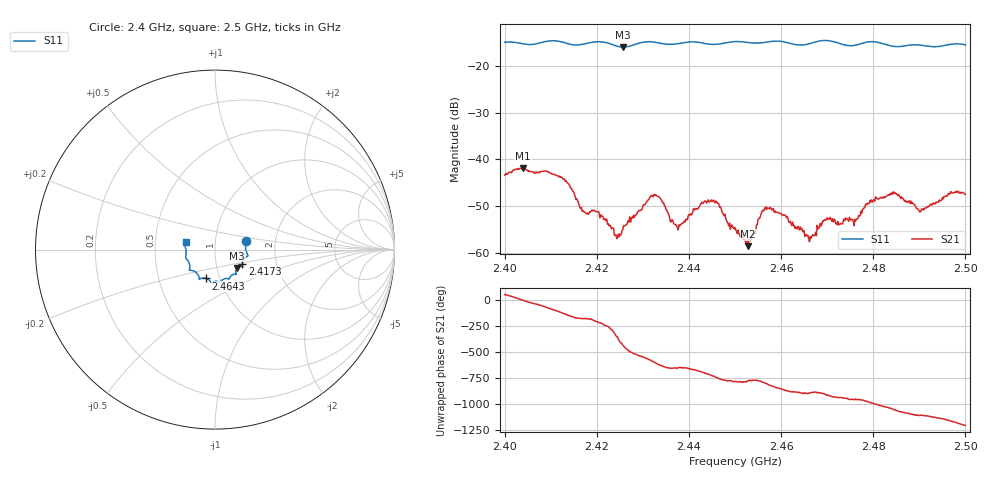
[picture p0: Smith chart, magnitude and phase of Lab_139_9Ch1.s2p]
# Hz S RI R 50
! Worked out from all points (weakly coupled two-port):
!   601 points, 2.4 GHz to 2.5 GHz, reference 50 ohm
!   highest |S21| = -41.81 dB at 2.404 GHz (marker M1); lowest = -58.6 dB at 2.4528 GHz (marker M2)
!   lowest |S11| = -15.9 dB at 2.4257 GHz (marker M3), VSWR 1.38, Z = 62.5 - j13.1 ohm
!   |S11| at or under -10 dB: start of sweep to end of sweep
!   S12 and S22 are empty: the file has one direction only
!   S11 on the Smith chart (normalised r, x): 2.4 GHz: 1.41, +0.14; 2.4173 GHz: 1.34, -0.23; 2.4643 GHz: 0.86, -0.28; 2.5 GHz: 0.72, +0.06
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2.4e9  0.1732 0.0491  0.00439 0.00518  0 0  0 0
2.404e9  0.1716 0.0249  0.00808 -0.000778  0 0  0 0
2.4125e9  0.177 -0.0385  -0.00374 -0.0052  0 0  0 0
2.416667e9  0.1529 -0.0749  -0.00306 -6.06e-06  0 0  0 0
2.417333e9  0.1521 -0.0821  -0.00275 4.26e-05  0 0  0 0
2.42e9  0.154 -0.0972  -0.00243 0.00132  0 0  0 0
2.424333e9  0.1334 -0.0951  0.00141 0.000137  0 0  0 0
2.425667e9  0.1228 -0.1022  0.000445 -0.00172  0 0  0 0
2.433333e9  0.1127 -0.1369  -0.000755 0.00396  0 0  0 0
2.437167e9  0.0865 -0.1496  0.000812 0.00183  0 0  0 0
2.445e9  0.0557 -0.1616  0.00352 -0.000378  0 0  0 0
2.45e9  0.0294 -0.1807  0.000924 -0.00162  0 0  0 0
2.452833e9  0.0182 -0.1779  0.000642 -0.00099  0 0  0 0
2.457e9  -0.0133 -0.1806  0.00019 -0.00302  0 0  0 0
2.464333e9  -0.0497 -0.1606  -0.00176 -0.000305  0 0  0 0
2.466667e9  -0.0758 -0.1596  -0.00146 -0.000348  0 0  0 0
2.4695e9  -0.0877 -0.1664  -0.00228 8.46e-05  0 0  0 0
2.476167e9  -0.1179 -0.119  -0.00142 0.00167  0 0  0 0
2.478833e9  -0.1397 -0.1154  -0.000873 0.00322  0 0  0 0
2.483333e9  -0.1406 -0.09  0.00286 0.00306  0 0  0 0
2.4905e9  -0.1622 -0.038  0.00266 -0.00127  0 0  0 0
2.5e9  -0.1637 0.0419  -0.00231 -0.00353  0 0  0 0
